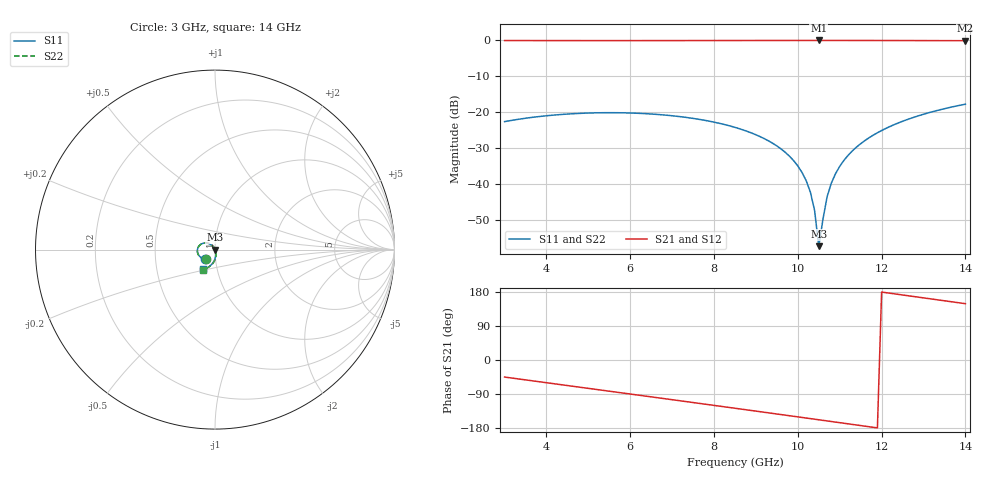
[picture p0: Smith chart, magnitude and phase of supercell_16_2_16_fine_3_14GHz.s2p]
! Touchstone file exported from HFSS 2026.1.0
!  File:  C:/Users/urbaneja/Ansys/16-2-16_super_cell.aedt
!  Generated:  01:35:12 PM Aug 12, 2026
!  Design:  HFSSDesign_Supercell_16_2_16_Test
!  Project:  16-2-16_super_cell
!  Setup:  Setup1
!  Solution:  Sweep_16_2_16_fine
! Variables:
!  stub_length = 12um
# GHz S MA R 50.000000
! Terminal data exported
! Port[1] = Port1
! Port[2] = Port2
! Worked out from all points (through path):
!   111 points, 3 GHz to 14 GHz, reference 50 ohm
!   highest |S21| = 0.00 dB at 10.5 GHz (marker M1); lowest = -0.1 dB at 14 GHz (marker M2)
!   group delay of S21, straight-line fit = 42 ps
!   lowest |S11| = -57.3 dB at 10.5 GHz (marker M3), VSWR 1.00, Z = 49.9 + j0.00666 ohm
!   |S11| at or under -10 dB: start of sweep to end of sweep
!   |S22| runs from -57.3 to -17.7 dB; largest |S21 - S12| = 0.00028
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3  0.07414 -136.5  0.9972 -45.0  0.9972 -45.0  0.07414 -133.6
! Gamma 4.39324585099247E-31 2540.66717009482 0 2565.8548008529
! Port Impedance 50 0 50 0
4.9  0.09713 -163.9  0.9953 -73.4  0.9953 -73.4  0.09713 -162.8
5.8  0.09837 -177.1  0.9952 -86.8  0.9952 -86.8  0.09837 -176.5
6.7  0.09282 169.7  0.9957 -100.3  0.9957 -100.3  0.09282 169.7
7.7  0.07869 155.1  0.9969 -115.3  0.9969 -115.3  0.07869 154.4
8.5  0.06164 143.4  0.9981 -127.3  0.9981 -127.3  0.06164 141.9
9.3  0.04001 132.1  0.9992 -139.5  0.9992 -139.5  0.04001 129.0
9.8  0.02448 125.7  0.9997 -147.1  0.9997 -147.1  0.02448 120.2
10  0.0179 123.7  0.9998 -150.1  0.9998 -150.1  0.0179 116.1
10.2  0.01115 123.1  0.9999 -153.2  0.9999 -153.2  0.01115 110.6
10.3  0.007718 124.4  1 -154.7  1 -154.7  0.007718 106.2
10.4  0.0043 130.4  1 -156.2  1 -156.2  0.0043 97.1
10.5  0.001368 177.2  1 -157.7  1 -157.7  0.001368 47.3
10.6  0.003246 -91.8  1 -159.3  1 -159.3  0.003246 -46.7
10.7  0.006728 -81.5  1 -160.8  1 -160.8  0.006728 -60.1
10.8  0.01033 -79.3  0.9999 -162.3  0.9999 -162.3  0.01033 -65.4
11  0.01768 -79.4  0.9998 -165.4  0.9998 -165.4  0.01768 -71.4
11.2  0.02516 -81.3  0.9997 -168.5  0.9997 -168.5  0.02516 -75.6
11.5  0.03653 -85.0  0.9993 -173.1  0.9993 -173.1  0.03653 -81.1
12.2  0.06344 -94.9  0.9981 176.2  0.9978 176.2  0.06344 -92.7
13  0.09389 -106.6  0.9956 163.9  0.9956 163.9  0.09389 -105.6
14  0.1296 -121.6  0.9916 148.6  0.9916 148.6  0.1296 -121.2
